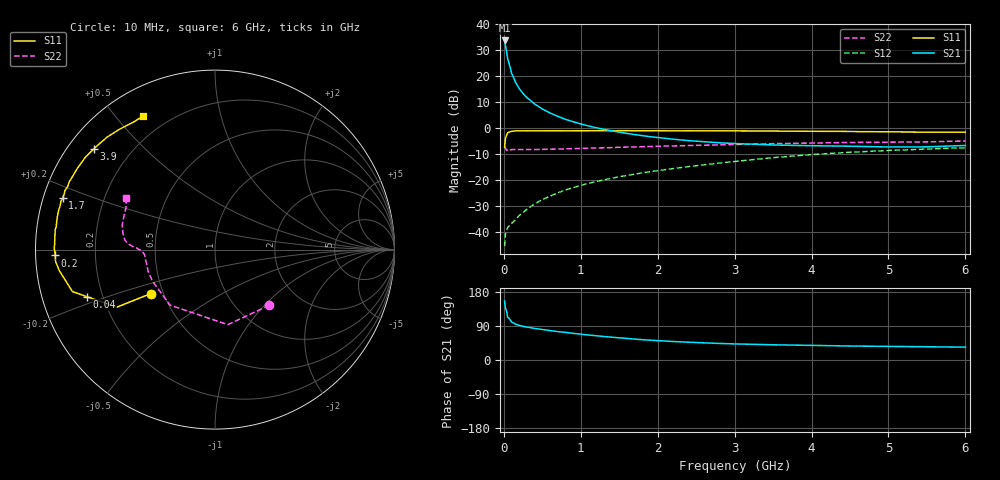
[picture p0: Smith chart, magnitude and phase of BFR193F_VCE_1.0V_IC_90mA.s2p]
! Infineon Technologies  Discrete & RF Semiconductors
! BFR193F
! VCE =  1.0 V,  IC =  90 mA
! Common Emitter S-Parameters:  Jan 2017
# GHz  S  MA  R  50
!  f  S11  S21  S12  S22
! GHz  MAG  ANG  MAG  ANG  MAG  ANG  MAG  ANG
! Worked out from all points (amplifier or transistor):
!   77 points, 10 MHz to 6 GHz, reference 50 ohm
!   highest |S21| = 33.8 dB at 10 MHz (marker M1)
!   |S21| within 3 dB of that: start of sweep to 27.79 MHz
!   unconditionally stable (mu >= 1): start of sweep to 14.1 MHz; 194.2 MHz to end of sweep
!   at 130 MHz: K = 0.86, MSG = 27.6 dB, |S12| = -35.8 dB
!   at 2.2 GHz: K = 1.16, MAG = 3.2 dB, |S12| = -15.5 dB
!   at 6 GHz: K = 1.06, MAG = -1.1 dB, |S12| = -7.5 dB
!   S11 on the Smith chart (normalised r, x): 10 MHz: 0.43, -0.26; 40 MHz: 0.14, -0.18; 200 MHz: 0.06, -0.02; 1.7 GHz: 0.06, +0.16; 3.9 GHz: 0.07, +0.36; 6 GHz: 0.11, +0.59
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0.01  0.4343 -145.6  48.95 155.8  0.0054 63.8  0.4337 -45.7
0.02  0.634 -149.6  39.97 137.3  0.009 51.2  0.4243 -80.3
0.04  0.7587 -159.7  27 124.6  0.0112 44.6  0.3742 -112.5
0.05  0.8279 -163.6  21.46 112.7  0.0123 42.2  0.3981 -129.0
0.1  0.8757 -172.4  11.45 99.9  0.0148 45.1  0.3903 -153.5
0.15  0.891 -175.8  7.747 94.8  0.0172 51.5  0.3918 -162.2
0.2  0.8906 -177.9  5.819 91.2  0.0211 56.9  0.3893 -166.4
0.25  0.8936 -179.4  4.663 88.9  0.024 60.4  0.3895 -169.7
0.3  0.8952 179.5  3.896 86.8  0.0278 64.6  0.3908 -171.2
0.4  0.8941 177.4  2.924 83.2  0.0351 68.3  0.3917 -173.9
0.5  0.8946 175.7  2.352 80.4  0.0424 70.7  0.3927 -175.4
0.6  0.8957 174.3  1.972 77.6  0.0495 72.1  0.3959 -176.5
0.7  0.8973 172.7  1.699 75.0  0.0572 72.9  0.3991 -177.2
0.9  0.8954 170.3  1.338 70.4  0.072 73.3  0.4063 -178.6
1.1  0.8974 168.0  1.11 66.0  0.0871 74.0  0.4141 -179.3
1.7  0.8951 161.4  0.757 55.2  0.1311 72.9  0.4384 178.7
2.1  0.8954 157.7  0.641 50.0  0.1606 71.8  0.4545 178.0
3.1  0.8893 148.4  0.503 42.0  0.238 67.4  0.491 175.6
3.9  0.8776 140.2  0.465 38.9  0.3039 61.8  0.5177 170.7
4.1  0.874 138.1  0.46 38.3  0.3187 60.1  0.5233 169.0
5.1  0.8527 127.2  0.438 35.7  0.3791 51.7  0.5421 158.5
6  0.8448 118.4  0.467 34.0  0.422 45.2  0.5701 149.9
